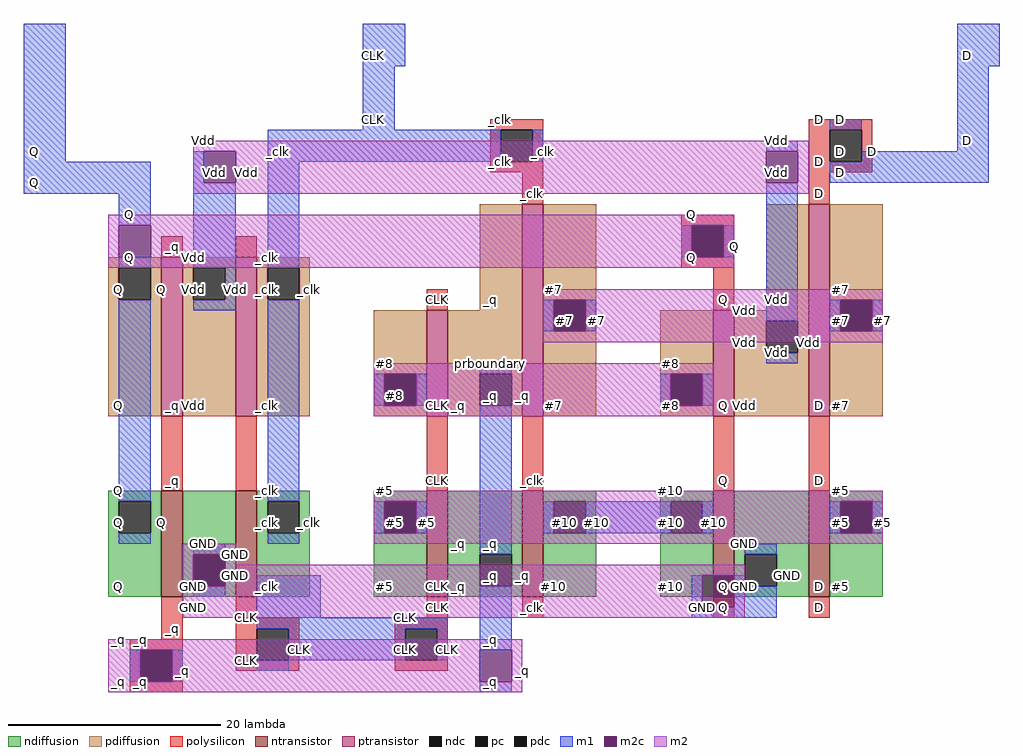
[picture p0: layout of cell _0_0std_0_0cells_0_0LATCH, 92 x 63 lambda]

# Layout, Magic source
magic
tech sky130l
<< ndiffusion >>
rect 16 23 21 24
rect 16 20 17 23
rect 20 20 21 23
rect 16 14 21 20
rect 23 18 28 24
rect 23 15 24 18
rect 27 15 28 18
rect 23 14 28 15
rect 30 23 35 24
rect 30 20 31 23
rect 34 20 35 23
rect 30 14 35 20
rect 41 23 46 24
rect 41 20 42 23
rect 45 20 46 23
rect 41 14 46 20
rect 48 18 55 24
rect 48 15 51 18
rect 54 15 55 18
rect 48 14 55 15
rect 57 23 62 24
rect 57 20 58 23
rect 61 20 62 23
rect 57 14 62 20
rect 68 23 73 24
rect 68 20 69 23
rect 72 20 73 23
rect 68 14 73 20
rect 75 18 82 24
rect 75 15 76 18
rect 79 15 82 18
rect 75 14 82 15
rect 84 23 89 24
rect 84 20 85 23
rect 88 20 89 23
rect 84 14 89 20
<< ndc >>
rect 17 20 20 23
rect 24 15 27 18
rect 31 20 34 23
rect 42 20 45 23
rect 51 15 54 18
rect 58 20 61 23
rect 69 20 72 23
rect 76 15 79 18
rect 85 20 88 23
<< ntransistor >>
rect 21 14 23 24
rect 28 14 30 24
rect 46 14 48 24
rect 55 14 57 24
rect 73 14 75 24
rect 82 14 84 24
<< pdiffusion >>
rect 16 45 21 46
rect 16 42 17 45
rect 20 42 21 45
rect 16 31 21 42
rect 23 45 28 46
rect 23 42 24 45
rect 27 42 28 45
rect 23 31 28 42
rect 30 45 35 46
rect 30 42 31 45
rect 34 42 35 45
rect 30 31 35 42
rect 51 41 55 51
rect 41 35 46 41
rect 41 32 42 35
rect 45 32 46 35
rect 41 31 46 32
rect 48 35 55 41
rect 48 32 51 35
rect 54 32 55 35
rect 48 31 55 32
rect 57 42 62 51
rect 57 39 58 42
rect 61 39 62 42
rect 78 41 82 51
rect 57 31 62 39
rect 68 35 73 41
rect 68 32 69 35
rect 72 32 73 35
rect 68 31 73 32
rect 75 40 82 41
rect 75 37 78 40
rect 81 37 82 40
rect 75 31 82 37
rect 84 42 89 51
rect 84 39 85 42
rect 88 39 89 42
rect 84 31 89 39
<< pdc >>
rect 17 42 20 45
rect 24 42 27 45
rect 31 42 34 45
rect 42 32 45 35
rect 51 32 54 35
rect 58 39 61 42
rect 69 32 72 35
rect 78 37 81 40
rect 85 39 88 42
<< ptransistor >>
rect 21 31 23 46
rect 28 31 30 46
rect 46 31 48 41
rect 55 31 57 51
rect 73 31 75 41
rect 82 31 84 51
<< polysilicon >>
rect 52 58 57 59
rect 52 55 53 58
rect 56 55 57 58
rect 52 54 57 55
rect 55 51 57 54
rect 82 58 88 59
rect 82 55 84 58
rect 87 55 88 58
rect 82 54 88 55
rect 82 51 84 54
rect 21 46 23 48
rect 28 46 30 48
rect 46 41 48 43
rect 70 49 75 50
rect 70 46 71 49
rect 74 46 75 49
rect 70 45 75 46
rect 73 41 75 45
rect 21 24 23 31
rect 28 24 30 31
rect 46 24 48 31
rect 55 24 57 31
rect 73 24 75 31
rect 82 24 84 31
rect 21 10 23 14
rect 18 9 23 10
rect 18 6 19 9
rect 22 6 23 9
rect 28 12 30 14
rect 46 12 48 14
rect 55 12 57 14
rect 73 12 75 14
rect 82 12 84 14
rect 28 11 34 12
rect 28 8 30 11
rect 33 8 34 11
rect 28 7 34 8
rect 43 11 48 12
rect 43 8 44 11
rect 47 8 48 11
rect 43 7 48 8
rect 18 5 23 6
<< pc >>
rect 53 55 56 58
rect 84 55 87 58
rect 71 46 74 49
rect 19 6 22 9
rect 30 8 33 11
rect 44 8 47 11
<< m1 >>
rect 8 55 12 68
rect 40 64 44 68
rect 96 64 100 68
rect 40 58 43 64
rect 84 58 87 59
rect 8 52 20 55
rect 17 49 20 52
rect 17 45 20 46
rect 17 23 20 42
rect 24 53 25 56
rect 24 45 28 53
rect 27 42 28 45
rect 24 41 28 42
rect 31 55 53 58
rect 56 55 57 58
rect 78 56 81 57
rect 31 45 34 55
rect 96 56 99 64
rect 87 55 99 56
rect 84 53 99 55
rect 70 46 71 49
rect 74 46 75 49
rect 17 19 20 20
rect 31 23 34 42
rect 57 39 58 42
rect 61 39 62 42
rect 78 40 81 53
rect 84 39 85 42
rect 88 39 89 42
rect 78 36 81 37
rect 51 35 54 36
rect 41 32 42 35
rect 45 32 46 35
rect 68 32 69 35
rect 72 32 73 35
rect 41 20 42 23
rect 45 20 46 23
rect 31 19 34 20
rect 24 18 27 19
rect 51 18 54 32
rect 57 20 58 23
rect 61 20 69 23
rect 72 20 73 23
rect 84 20 85 23
rect 88 20 89 23
rect 24 14 27 15
rect 30 12 36 16
rect 76 18 79 19
rect 30 11 48 12
rect 18 6 19 9
rect 22 6 23 9
rect 33 8 44 11
rect 47 8 48 11
rect 51 9 54 15
rect 71 13 72 16
rect 75 15 76 16
rect 75 13 79 15
rect 71 12 79 13
rect 30 7 33 8
rect 51 5 54 6
<< m2c >>
rect 17 46 20 49
rect 25 53 28 56
rect 78 53 81 56
rect 71 46 74 49
rect 58 39 61 42
rect 85 39 88 42
rect 42 32 45 35
rect 69 32 72 35
rect 42 20 45 23
rect 24 15 27 18
rect 85 20 88 23
rect 19 6 22 9
rect 72 13 75 16
rect 51 6 54 9
<< m2 >>
rect 24 56 82 57
rect 24 53 25 56
rect 28 53 78 56
rect 81 53 82 56
rect 24 52 82 53
rect 16 49 75 50
rect 16 46 17 49
rect 20 46 71 49
rect 74 46 75 49
rect 16 45 75 46
rect 57 42 89 43
rect 57 39 58 42
rect 61 39 85 42
rect 88 39 89 42
rect 57 38 89 39
rect 41 35 73 36
rect 41 32 42 35
rect 45 32 69 35
rect 72 32 73 35
rect 41 31 73 32
rect 41 23 89 24
rect 41 20 42 23
rect 45 20 85 23
rect 88 20 89 23
rect 41 19 89 20
rect 23 18 28 19
rect 23 15 24 18
rect 27 17 28 18
rect 27 16 76 17
rect 27 15 72 16
rect 23 13 72 15
rect 75 13 76 16
rect 23 12 76 13
rect 16 9 55 10
rect 16 6 19 9
rect 22 6 51 9
rect 54 6 55 9
rect 16 5 55 6
<< labels >>
rlabel space 0 0 104 72 6 prboundary
rlabel polysilicon 83 25 83 25 3 D
rlabel polysilicon 83 52 83 52 3 D
rlabel polysilicon 83 55 83 55 3 D
rlabel polysilicon 83 56 83 56 3 D
rlabel polysilicon 83 59 83 59 3 D
rlabel ndiffusion 85 15 85 15 3 #5
rlabel ndiffusion 85 24 85 24 3 #5
rlabel ndiffusion 80 16 80 16 3 GND
rlabel pdiffusion 85 32 85 32 3 #7
rlabel pdiffusion 85 43 85 43 3 #7
rlabel pdiffusion 82 38 82 38 3 Vdd
rlabel pdiffusion 79 42 79 42 3 Vdd
rlabel ntransistor 83 15 83 15 3 D
rlabel ptransistor 83 32 83 32 3 D
rlabel ndiffusion 76 15 76 15 3 GND
rlabel ndiffusion 76 19 76 19 3 GND
rlabel ndiffusion 69 21 69 21 3 #10
rlabel pdiffusion 76 32 76 32 3 Vdd
rlabel pdiffusion 76 38 76 38 3 Vdd
rlabel pdiffusion 76 41 76 41 3 Vdd
rlabel polysilicon 74 42 74 42 3 Q
rlabel ntransistor 74 15 74 15 3 Q
rlabel polysilicon 74 25 74 25 3 Q
rlabel ptransistor 74 32 74 32 3 Q
rlabel polysilicon 71 46 71 46 3 Q
rlabel polysilicon 71 50 71 50 3 Q
rlabel polysilicon 83 13 83 13 3 D
rlabel ndiffusion 69 15 69 15 3 #10
rlabel ndiffusion 69 24 69 24 3 #10
rlabel pdiffusion 69 32 69 32 3 #8
rlabel pdiffusion 69 36 69 36 3 #8
rlabel polysilicon 56 25 56 25 3 _clk
rlabel polysilicon 56 52 56 52 3 _clk
rlabel polysilicon 74 13 74 13 3 Q
rlabel ndiffusion 58 15 58 15 3 #10
rlabel ndiffusion 58 24 58 24 3 #10
rlabel ndiffusion 55 16 55 16 3 _q
rlabel pdiffusion 58 32 58 32 3 #7
rlabel pdiffusion 55 33 55 33 3 _q
rlabel polysilicon 53 55 53 55 3 _clk
rlabel polysilicon 53 56 53 56 3 _clk
rlabel polysilicon 53 59 53 59 3 _clk
rlabel polysilicon 44 9 44 9 3 CLK
rlabel ntransistor 56 15 56 15 3 _clk
rlabel ptransistor 56 32 56 32 3 _clk
rlabel pdiffusion 52 42 52 42 3 _q
rlabel polysilicon 56 13 56 13 3 _clk
rlabel ndiffusion 49 15 49 15 3 _q
rlabel ndiffusion 49 16 49 16 3 _q
rlabel ndiffusion 49 19 49 19 3 _q
rlabel pdiffusion 49 32 49 32 3 _q
rlabel pdiffusion 49 33 49 33 3 _q
rlabel pdiffusion 49 36 49 36 3 _q
rlabel polysilicon 44 8 44 8 3 CLK
rlabel ntransistor 47 15 47 15 3 CLK
rlabel polysilicon 47 25 47 25 3 CLK
rlabel ptransistor 47 32 47 32 3 CLK
rlabel polysilicon 47 42 47 42 3 CLK
rlabel polysilicon 44 12 44 12 3 CLK
rlabel polysilicon 47 13 47 13 3 CLK
rlabel ndiffusion 42 15 42 15 3 #5
rlabel ndiffusion 35 21 35 21 3 _clk
rlabel pdiffusion 35 43 35 43 3 _clk
rlabel polysilicon 29 8 29 8 3 CLK
rlabel polysilicon 29 9 29 9 3 CLK
rlabel polysilicon 29 12 29 12 3 CLK
rlabel polysilicon 29 13 29 13 3 CLK
rlabel ndiffusion 31 15 31 15 3 _clk
rlabel ndiffusion 31 21 31 21 3 _clk
rlabel ndiffusion 31 24 31 24 3 _clk
rlabel pdiffusion 31 32 31 32 3 _clk
rlabel pdiffusion 31 43 31 43 3 _clk
rlabel pdiffusion 31 46 31 46 3 _clk
rlabel ntransistor 29 15 29 15 3 CLK
rlabel polysilicon 29 25 29 25 3 CLK
rlabel ptransistor 29 32 29 32 3 CLK
rlabel polysilicon 29 47 29 47 3 CLK
rlabel polysilicon 22 11 22 11 3 _q
rlabel ndiffusion 24 15 24 15 3 GND
rlabel ndiffusion 21 21 21 21 3 Q
rlabel pdiffusion 24 32 24 32 3 Vdd
rlabel pdiffusion 24 43 24 43 3 Vdd
rlabel pdiffusion 24 46 24 46 3 Vdd
rlabel pdiffusion 21 43 21 43 3 Q
rlabel polysilicon 19 6 19 6 3 _q
rlabel polysilicon 19 10 19 10 3 _q
rlabel ntransistor 22 15 22 15 3 _q
rlabel polysilicon 22 25 22 25 3 _q
rlabel ptransistor 22 32 22 32 3 _q
rlabel polysilicon 22 47 22 47 3 _q
rlabel ndiffusion 17 15 17 15 3 Q
rlabel ndiffusion 17 21 17 21 3 Q
rlabel ndiffusion 17 24 17 24 3 Q
rlabel pdiffusion 17 32 17 32 3 Q
rlabel pdiffusion 17 43 17 43 3 Q
rlabel m1 97 57 97 57 3 D
port 1 e
rlabel m1 97 65 97 65 3 D
port 1 e
rlabel m1 88 56 88 56 3 D
port 1 e
rlabel m1 85 40 85 40 3 #7
rlabel m1 85 54 85 54 3 D
port 1 e
rlabel pc 85 56 85 56 3 D
port 1 e
rlabel m1 85 59 85 59 3 D
port 1 e
rlabel m1 79 57 79 57 3 Vdd
rlabel m1 85 21 85 21 3 #5
rlabel m1 79 37 79 37 3 Vdd
rlabel pdc 79 38 79 38 3 Vdd
rlabel m1 79 41 79 41 3 Vdd
rlabel ndc 77 16 77 16 3 GND
rlabel m1 76 16 76 16 3 GND
rlabel m1 71 47 71 47 3 Q
port 2 e
rlabel m1 73 21 73 21 3 #10
rlabel m1 72 13 72 13 3 GND
rlabel m1 72 14 72 14 3 GND
rlabel m1 77 19 77 19 3 GND
rlabel ndc 70 21 70 21 3 #10
rlabel m1 69 33 69 33 3 #8
rlabel m1 62 21 62 21 3 #10
rlabel pdc 52 33 52 33 3 _q
rlabel m1 52 36 52 36 3 _q
rlabel m1 52 10 52 10 3 _q
rlabel ndc 59 21 59 21 3 #10
rlabel m1 58 21 58 21 3 #10
rlabel m1 32 20 32 20 3 _clk
rlabel m1 48 9 48 9 3 CLK
port 3 e
rlabel pc 45 9 45 9 3 CLK
port 3 e
rlabel ndc 52 16 52 16 3 _q
rlabel m1 52 19 52 19 3 _q
rlabel m1 57 56 57 56 3 _clk
rlabel m1 41 59 41 59 3 CLK
port 3 e
rlabel m1 41 65 41 65 3 CLK
port 3 e
rlabel m1 52 6 52 6 3 _q
rlabel m1 34 9 34 9 3 CLK
port 3 e
rlabel m1 25 15 25 15 3 GND
rlabel m1 25 19 25 19 3 GND
rlabel pdc 32 43 32 43 3 _clk
rlabel pc 54 56 54 56 3 _clk
rlabel m1 31 8 31 8 3 CLK
port 3 e
rlabel pc 31 9 31 9 3 CLK
port 3 e
rlabel m1 31 12 31 12 3 CLK
port 3 e
rlabel m1 31 13 31 13 3 CLK
port 3 e
rlabel m1 32 46 32 46 3 _clk
rlabel m1 32 56 32 56 3 _clk
rlabel ndc 32 21 32 21 3 _clk
rlabel m1 32 24 32 24 3 _clk
rlabel m1 28 43 28 43 3 Vdd
rlabel m1 25 42 25 42 3 Vdd
rlabel pdc 25 43 25 43 3 Vdd
rlabel m1 25 46 25 46 3 Vdd
rlabel m1 19 7 19 7 3 _q
rlabel m1 18 20 18 20 3 Q
port 2 e
rlabel ndc 18 21 18 21 3 Q
port 2 e
rlabel m1 18 24 18 24 3 Q
port 2 e
rlabel pdc 18 43 18 43 3 Q
port 2 e
rlabel m1 18 46 18 46 3 Q
port 2 e
rlabel m1 18 50 18 50 3 Q
port 2 e
rlabel m1 9 53 9 53 3 Q
port 2 e
rlabel m1 9 56 9 56 3 Q
port 2 e
rlabel m2 89 40 89 40 3 #7
rlabel m2c 86 40 86 40 3 #7
rlabel m2 62 40 62 40 3 #7
rlabel m2 89 21 89 21 3 #5
rlabel m2 73 33 73 33 3 #8
rlabel m2c 59 40 59 40 3 #7
rlabel m2c 86 21 86 21 3 #5
rlabel m2c 70 33 70 33 3 #8
rlabel m2 58 39 58 39 3 #7
rlabel m2 58 40 58 40 3 #7
rlabel m2 58 43 58 43 3 #7
rlabel m2 46 21 46 21 3 #5
rlabel m2 46 33 46 33 3 #8
rlabel m2c 43 21 43 21 3 #5
rlabel m2c 43 33 43 33 3 #8
rlabel m2 82 54 82 54 3 Vdd
rlabel m2 76 14 76 14 3 GND
rlabel m2 28 16 28 16 3 GND
rlabel m2 28 17 28 17 3 GND
rlabel m2 28 18 28 18 3 GND
rlabel m2 42 20 42 20 3 #5
rlabel m2 42 21 42 21 3 #5
rlabel m2 42 24 42 24 3 #5
rlabel m2 42 32 42 32 3 #8
rlabel m2 42 33 42 33 3 #8
rlabel m2 42 36 42 36 3 #8
rlabel m2c 79 54 79 54 3 Vdd
rlabel m2c 73 14 73 14 3 GND
rlabel m2c 25 16 25 16 3 GND
rlabel m2 29 54 29 54 3 Vdd
rlabel m2 55 7 55 7 3 _q
rlabel m2 24 13 24 13 3 GND
rlabel m2 24 14 24 14 3 GND
rlabel m2 24 16 24 16 3 GND
rlabel m2 24 19 24 19 3 GND
rlabel m2 75 47 75 47 3 Q
port 2 e
rlabel m2c 26 54 26 54 3 Vdd
rlabel m2c 52 7 52 7 3 _q
rlabel m2c 72 47 72 47 3 Q
port 2 e
rlabel m2 25 53 25 53 3 Vdd
rlabel m2 25 54 25 54 3 Vdd
rlabel m2 25 57 25 57 3 Vdd
rlabel m2 23 7 23 7 3 _q
rlabel m2 21 47 21 47 3 Q
port 2 e
rlabel m2c 20 7 20 7 3 _q
rlabel m2c 18 47 18 47 3 Q
port 2 e
rlabel m2 17 6 17 6 3 _q
rlabel m2 17 7 17 7 3 _q
rlabel m2 17 10 17 10 3 _q
rlabel m2 17 46 17 46 3 Q
port 2 e
rlabel m2 17 47 17 47 3 Q
port 2 e
rlabel m2 17 50 17 50 3 Q
port 2 e
<< end >>
